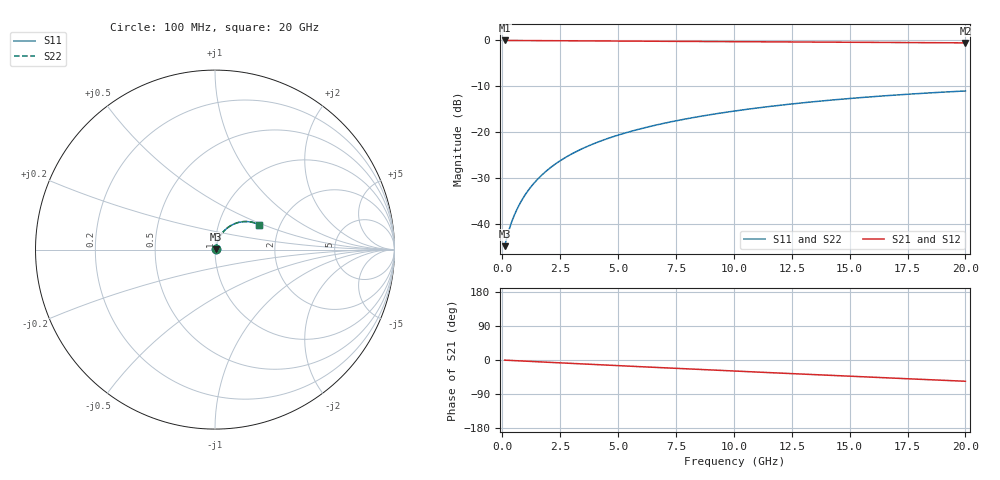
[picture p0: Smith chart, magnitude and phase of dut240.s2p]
! Touchstone file exported from HFSS 2026.1.0
!  File:  C:/ffzhzh/LocalFiles/Ansys_Project_Files/temp_train_BSMRDL_240_1782988393_6248.aedt
!  Generated:  06:34:30 PM Jul  2, 2026
!  Design:  BSMRDL
!  Project:  temp_train_BSMRDL_240_1782988393_6248
! Variables:
!  h_bsmrdl = 5.07um
!  h_ox = 20um
!  h_rdl = 5um
!  h_sub = 80um
!  h_tmrdl = 5um
!  h_tsv = 80um
!  h_via = 3um
!  l_bsmrdl = 988.82um
!  l_sub = 1388.82um
!  l_tmrdl = 200um
!  m_sub = 200um
!  pitch = 23.37um
!  r_tsv = 6um
!  s_tmrdl = 10um
!  w_bsmrdl = 13.32um
!  w_sub = 500um
!  w_tmrdl = 12um
!  x_tsv_center1 = 206um
!  x_tsv_center2 = 1208.14um
!  x_tsv_center3 = 1420.14um
!  x_tsv_center4 = 2422.28um
!  x_tsv_center5 = 2634.28um
!  x_tsv_center6 = 3636.42um
# GHz S MA R 50.000000
! Terminal data exported
! Port[1] = BSM_RDL1_1_T1
! Port[2] = BSM_RDL1_1_T2
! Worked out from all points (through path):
!   200 points, 100 MHz to 20 GHz, reference 50 ohm
!   highest |S21| = -0.05 dB at 100 MHz (marker M1); lowest = -0.6 dB at 20 GHz (marker M2)
!   group delay of S21, straight-line fit = 7.76 ps
!   lowest |S11| = -44.8 dB at 100 MHz (marker M3), VSWR 1.01, Z = 50.5 + j0.236 ohm
!   |S11| at or under -10 dB: start of sweep to end of sweep
!   |S22| runs from -44.8 to -11.0 dB; largest |S21 - S12| = 1.2e-14
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0.1  0.005774 23.9  0.9947 -0.3  0.9947 -0.3  0.005774 23.9
! Gamma 0 0 0 0
! Port Impedance 50 0 50 0
0.3  0.008824 47.7  0.9941 -1.0  0.9941 -1.0  0.008824 47.7
0.4  0.01051 53.5  0.9939 -1.3  0.9939 -1.3  0.0105 53.5
0.6  0.01394 60.8  0.9935 -1.9  0.9935 -1.9  0.01394 60.8
0.7  0.0157 63.3  0.9934 -2.2  0.9934 -2.2  0.0157 63.3
0.9  0.0193 66.8  0.9931 -2.8  0.9931 -2.8  0.0193 66.9
1.1  0.02296 69.1  0.9929 -3.4  0.9929 -3.4  0.02296 69.1
1.3  0.02667 70.6  0.9926 -4.0  0.9926 -4.0  0.02667 70.6
1.7  0.03413 72.1  0.9919 -5.2  0.9919 -5.2  0.03413 72.1
2.2  0.04345 72.6  0.991 -6.7  0.991 -6.7  0.04345 72.6
2.8  0.0545 72.1  0.9896 -8.4  0.9896 -8.4  0.05449 72.1
3.5  0.06712 70.9  0.9878 -10.5  0.9878 -10.5  0.06711 71.0
4.2  0.0794 69.4  0.9858 -12.6  0.9858 -12.6  0.07939 69.5
5  0.09304 67.5  0.9834 -14.9  0.9834 -14.9  0.09302 67.6
5.9  0.1079 65.3  0.9806 -17.5  0.9806 -17.5  0.1079 65.4
6.8  0.1222 63.0  0.9778 -20.0  0.9778 -20.0  0.1222 63.1
8.3  0.1452 59.2  0.973 -24.3  0.973 -24.3  0.1451 59.3
10.1  0.1711 54.6  0.9671 -29.3  0.9671 -29.3  0.171 54.8
11.7  0.1927 50.5  0.9619 -33.8  0.9619 -33.8  0.1926 50.7
13.4  0.2141 46.2  0.9565 -38.4  0.9565 -38.4  0.214 46.4
16.7  0.2509 37.8  0.9461 -47.3  0.9461 -47.3  0.2508 38.1
20  0.281 29.5  0.9367 -56.1  0.9367 -56.1  0.2809 29.8
